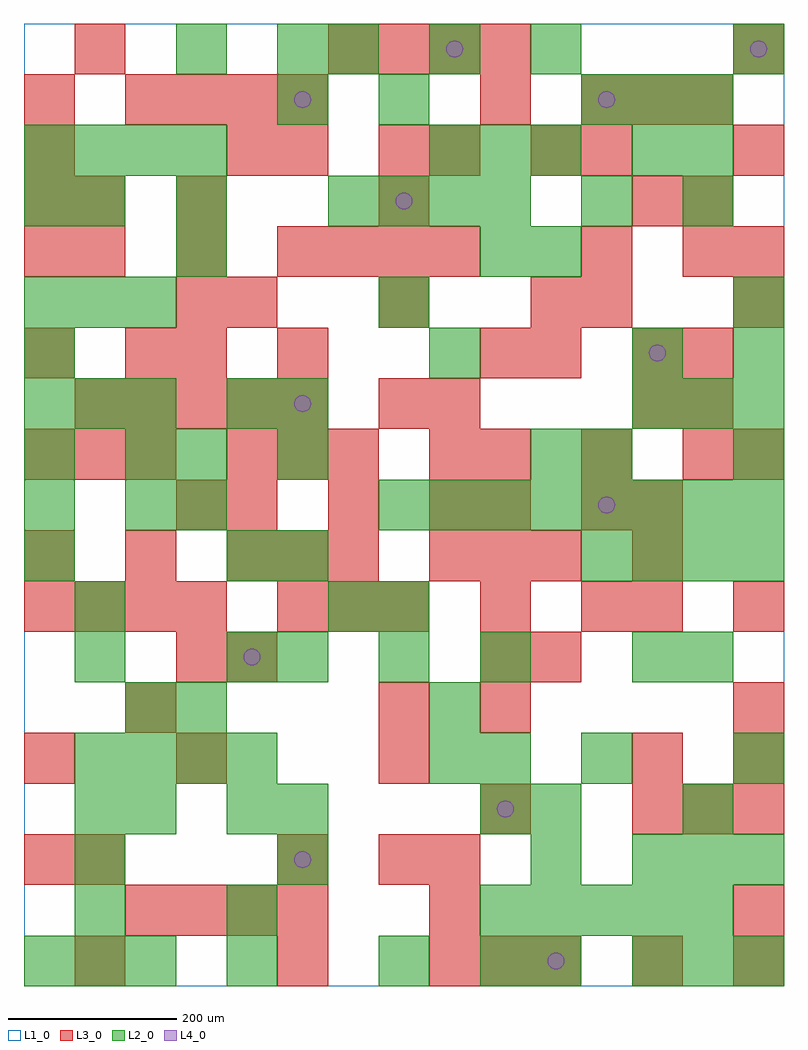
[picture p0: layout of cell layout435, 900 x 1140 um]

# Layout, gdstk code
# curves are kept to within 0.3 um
import gdstk
lib = gdstk.Library(unit=1e-6, precision=1e-09)
def R(c, l, rs):  # rectangles x0, y0, x1, y1
    for r in rs: c.add(gdstk.rectangle(r[:2], r[2:], *l))
def A(c, l, x, y, w, h, nx, ny, dx, dy):  # array of equal rectangles
    R(c, l, [(x+i*dx, y+j*dy, x+i*dx+w, y+j*dy+h) for i in range(nx) for j in range(ny)])
def P(c, l, *ps):  # polygons
    for p in ps: c.add(gdstk.Polygon(p, *l))
L1_0 = (1, 0)
L2_0 = (2, 0)
L3_0 = (3, 0)
L4_0 = (4, 0)

layout435 = lib.new_cell('layout435')
R(layout435, L1_0, [(0,0,900,1140)])
A(layout435, L2_0, 0, 0, 60, 60, 3, 2, 60, 660)
A(layout435, L2_0, 720, 0, 60, 60, 3, 2, 60, 120)
A(layout435, L2_0, 60, 60, 60, 60, 1, 3, 0, 60)
A(layout435, L2_0, 540, 60, 60, 60, 5, 1, 60, 0)
A(layout435, L2_0, 60, 240, 60, 60, 4, 1, 60, 0)
A(layout435, L2_0, 300, 360, 60, 60, 3, 1, 120, 0)
A(layout435, L2_0, 0, 480, 60, 60, 1, 3, 0, 60)
A(layout435, L2_0, 660, 480, 60, 60, 4, 1, 60, 0)
A(layout435, L2_0, 420, 540, 60, 60, 8, 1, 60, 0)
A(layout435, L2_0, 720, 660, 60, 60, 3, 1, 60, 0)
A(layout435, L2_0, 0, 780, 60, 60, 3, 1, 60, 0)
A(layout435, L2_0, 360, 900, 60, 60, 4, 1, 60, 0)
A(layout435, L2_0, 0, 960, 60, 60, 4, 1, 60, 0)
A(layout435, L2_0, 480, 960, 60, 60, 3, 1, 60, 0)
A(layout435, L2_0, 660, 1020, 60, 60, 3, 1, 60, 0)
A(layout435, L2_0, 360, 1080, 60, 60, 3, 1, 120, 0)
R(layout435, L2_0, [(240,0,300,60), (420,0,480,60), (540,0,600,60), (600,0,660,60), (240,60,300,120), (300,120,360,180), (600,120,660,180), (120,180,180,240), (240,180,300,240), (300,180,360,240), (540,180,600,240), (600,180,660,240), (780,180,840,240), (480,240,540,300), (540,240,600,300), (660,240,720,300), (840,240,900,300), (120,300,180,360), (180,300,240,360), (480,300,540,360), (60,360,120,420), (240,360,300,420), (720,360,780,420), (780,360,840,420), (60,420,120,480), (360,420,420,480), (420,420,480,480), (240,480,300,540), (300,480,360,540), (120,540,180,600), (180,540,240,600), (120,600,180,660), (180,600,240,660), (300,600,360,660), (600,600,660,660), (660,600,720,660), (840,600,900,660), (240,660,300,720), (300,660,360,720), (0,720,60,780), (480,720,540,780), (720,720,780,780), (840,720,900,780), (420,780,480,840), (840,780,900,840), (180,840,240,900), (540,840,600,900), (600,840,660,900), (0,900,60,960), (60,900,120,960), (180,900,240,960), (660,900,720,960), (780,900,840,960), (720,960,780,1020), (780,960,840,1020), (300,1020,360,1080), (420,1020,480,1080), (180,1080,240,1140), (300,1080,360,1140), (840,1080,900,1140)])
A(layout435, L3_0, 480, 0, 60, 60, 3, 2, 60, 480)
A(layout435, L3_0, 120, 60, 60, 60, 4, 2, 60, 960)
A(layout435, L3_0, 720, 180, 60, 60, 3, 1, 60, 0)
A(layout435, L3_0, 540, 300, 60, 60, 1, 3, 0, 60)
A(layout435, L3_0, 180, 360, 60, 60, 1, 3, 0, 180)
A(layout435, L3_0, 0, 420, 60, 60, 4, 1, 60, 0)
A(layout435, L3_0, 300, 420, 60, 60, 3, 1, 60, 0)
A(layout435, L3_0, 720, 420, 60, 60, 1, 3, 0, 60)
A(layout435, L3_0, 840, 420, 60, 60, 1, 3, 0, 180)
A(layout435, L3_0, 0, 480, 60, 60, 3, 1, 120, 0)
A(layout435, L3_0, 300, 480, 60, 60, 1, 3, 0, 240)
A(layout435, L3_0, 240, 540, 60, 60, 3, 1, 120, 0)
A(layout435, L3_0, 0, 600, 60, 60, 3, 1, 60, 0)
A(layout435, L3_0, 240, 600, 60, 60, 3, 1, 60, 0)
A(layout435, L3_0, 540, 600, 60, 60, 3, 1, 120, 0)
A(layout435, L3_0, 60, 660, 60, 60, 5, 1, 60, 0)
A(layout435, L3_0, 240, 780, 60, 60, 3, 1, 180, 0)
A(layout435, L3_0, 0, 840, 60, 60, 1, 4, 0, 60)
A(layout435, L3_0, 60, 840, 60, 60, 3, 1, 120, 0)
A(layout435, L3_0, 360, 840, 60, 60, 3, 1, 60, 0)
A(layout435, L3_0, 840, 840, 60, 60, 1, 3, 0, 120)
A(layout435, L3_0, 660, 1020, 60, 60, 3, 1, 60, 0)
A(layout435, L3_0, 360, 1080, 60, 60, 4, 1, 60, 0)
R(layout435, L3_0, [(60,0,120,60), (300,0,360,60), (720,0,780,60), (840,0,900,60), (480,60,540,120), (840,60,900,120), (0,120,60,180), (60,120,120,180), (300,120,360,180), (420,120,480,180), (480,120,540,180), (540,180,600,240), (0,240,60,300), (180,240,240,300), (420,240,480,300), (720,240,780,300), (840,240,900,300), (120,300,180,360), (420,300,480,360), (840,300,900,360), (240,360,300,420), (600,360,660,420), (660,420,720,480), (360,480,420,540), (540,540,600,600), (660,540,720,600), (480,600,540,660), (420,660,480,720), (480,660,540,720), (720,660,780,720), (780,660,840,720), (0,720,60,780), (120,720,180,780), (540,720,600,780), (600,720,660,780), (720,720,780,780), (780,720,840,780), (180,780,240,840), (660,780,720,840), (660,840,720,900), (780,840,840,900), (60,900,120,960), (180,900,240,960), (420,900,480,960), (720,900,780,960), (780,900,840,960), (240,960,300,1020), (420,960,480,1020), (480,960,540,1020), (600,960,660,1020), (660,960,720,1020), (540,1020,600,1080), (60,1080,120,1140)])
P(layout435, L4_0, [(280,390),(279.239,393.827),(277.071,397.071),(273.827,399.239),(270,400),(266.173,399.239),(262.929,397.071),(260.761,393.827),(260,390),(260.761,386.173),(262.929,382.929),(266.173,380.761),(270,380),(273.827,380.761),(277.071,382.929),(279.239,386.173)],
  [(340,150),(339.239,153.827),(337.071,157.071),(333.827,159.239),(330,160),(326.173,159.239),(322.929,157.071),(320.761,153.827),(320,150),(320.761,146.173),(322.929,142.929),(326.173,140.761),(330,140),(333.827,140.761),(337.071,142.929),(339.239,146.173)],
  [(340,690),(339.239,693.827),(337.071,697.071),(333.827,699.239),(330,700),(326.173,699.239),(322.929,697.071),(320.761,693.827),(320,690),(320.761,686.173),(322.929,682.929),(326.173,680.761),(330,680),(333.827,680.761),(337.071,682.929),(339.239,686.173)],
  [(340,1050),(339.239,1053.827),(337.071,1057.071),(333.827,1059.239),(330,1060),(326.173,1059.239),(322.929,1057.071),(320.761,1053.827),(320,1050),(320.761,1046.173),(322.929,1042.929),(326.173,1040.761),(330,1040),(333.827,1040.761),(337.071,1042.929),(339.239,1046.173)],
  [(460,930),(459.239,933.827),(457.071,937.071),(453.827,939.239),(450,940),(446.173,939.239),(442.929,937.071),(440.761,933.827),(440,930),(440.761,926.173),(442.929,922.929),(446.173,920.761),(450,920),(453.827,920.761),(457.071,922.929),(459.239,926.173)],
  [(520,1110),(519.239,1113.827),(517.071,1117.071),(513.827,1119.239),(510,1120),(506.173,1119.239),(502.929,1117.071),(500.761,1113.827),(500,1110),(500.761,1106.173),(502.929,1102.929),(506.173,1100.761),(510,1100),(513.827,1100.761),(517.071,1102.929),(519.239,1106.173)],
  [(580,210),(579.239,213.827),(577.071,217.071),(573.827,219.239),(570,220),(566.173,219.239),(562.929,217.071),(560.761,213.827),(560,210),(560.761,206.173),(562.929,202.929),(566.173,200.761),(570,200),(573.827,200.761),(577.071,202.929),(579.239,206.173)],
  [(640,30),(639.239,33.827),(637.071,37.071),(633.827,39.239),(630,40),(626.173,39.239),(622.929,37.071),(620.761,33.827),(620,30),(620.761,26.173),(622.929,22.929),(626.173,20.761),(630,20),(633.827,20.761),(637.071,22.929),(639.239,26.173)],
  [(700,570),(699.239,573.827),(697.071,577.071),(693.827,579.239),(690,580),(686.173,579.239),(682.929,577.071),(680.761,573.827),(680,570),(680.761,566.173),(682.929,562.929),(686.173,560.761),(690,560),(693.827,560.761),(697.071,562.929),(699.239,566.173)],
  [(700,1050),(699.239,1053.827),(697.071,1057.071),(693.827,1059.239),(690,1060),(686.173,1059.239),(682.929,1057.071),(680.761,1053.827),(680,1050),(680.761,1046.173),(682.929,1042.929),(686.173,1040.761),(690,1040),(693.827,1040.761),(697.071,1042.929),(699.239,1046.173)],
  [(760,750),(759.239,753.827),(757.071,757.071),(753.827,759.239),(750,760),(746.173,759.239),(742.929,757.071),(740.761,753.827),(740,750),(740.761,746.173),(742.929,742.929),(746.173,740.761),(750,740),(753.827,740.761),(757.071,742.929),(759.239,746.173)],
  [(880,1110),(879.239,1113.827),(877.071,1117.071),(873.827,1119.239),(870,1120),(866.173,1119.239),(862.929,1117.071),(860.761,1113.827),(860,1110),(860.761,1106.173),(862.929,1102.929),(866.173,1100.761),(870,1100),(873.827,1100.761),(877.071,1102.929),(879.239,1106.173)])

lib.write_gds('layout435.gds')
